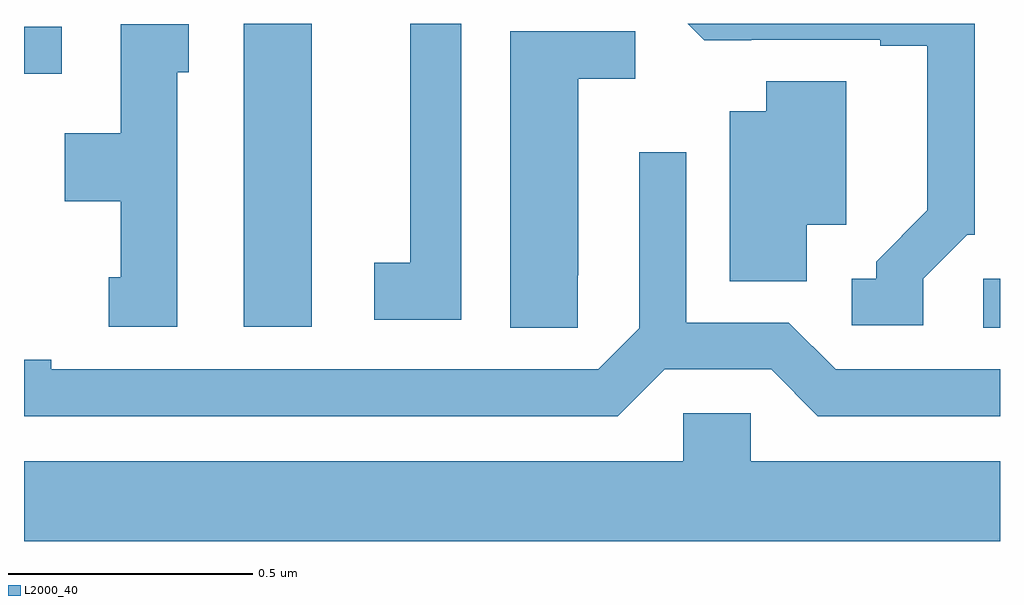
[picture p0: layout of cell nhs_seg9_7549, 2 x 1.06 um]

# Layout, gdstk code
import gdstk
lib = gdstk.Library(unit=1e-6, precision=1e-09)
def R(c, l, rs):  # rectangles x0, y0, x1, y1
    for r in rs: c.add(gdstk.rectangle(r[:2], r[2:], *l))
def P(c, l, *ps):  # polygons
    for p in ps: c.add(gdstk.Polygon(p, *l))
L2000_40 = (2000, 40)

nhs_seg9_7549 = lib.new_cell('nhs_seg9_7549')
R(nhs_seg9_7549, L2000_40, [(207.966,1176.877,208,1176.978), (206.45,1176.879,206.59,1177.5), (206,1177.398,206.077,1177.494)])
P(nhs_seg9_7549, L2000_40, [(206.896,1177.5),(206.792,1177.5),(206.792,1177.01),(206.718,1177.01),(206.718,1176.894),(206.896,1176.894)],
  [(207.843,1176.978),(207.933,1177.068),(207.948,1177.068),(207.948,1177.5),(207.36,1177.5),(207.394,1177.466),(207.49,1177.466),(207.49,1177.467),(207.755,1177.467),(207.755,1177.455),(207.851,1177.455),(207.851,1177.118),(207.746,1177.013),(207.746,1176.978),(207.696,1176.978),(207.696,1176.882),(207.843,1176.882)],
  [(206.314,1177.401),(206.338,1177.401),(206.338,1177.499),(206.198,1177.499),(206.198,1177.276),(206.084,1177.276),(206.084,1177.136),(206.198,1177.136),(206.198,1176.981),(206.174,1176.981),(206.174,1176.879),(206.314,1176.879)],
  [(207.135,1176.985),(207.136,1176.985),(207.136,1177.388),(207.253,1177.388),(207.253,1177.485),(206.996,1177.485),(206.996,1176.877),(207.135,1176.877)],
  [(207.604,1177.088),(207.685,1177.088),(207.685,1177.382),(207.521,1177.382),(207.521,1177.321),(207.446,1177.321),(207.446,1176.973),(207.604,1176.973)],
  [(207.313,1176.792),(207.531,1176.792),(207.627,1176.696),(208,1176.696),(208,1176.792),(207.663,1176.792),(207.567,1176.888),(207.357,1176.888),(207.357,1177.237),(207.261,1177.237),(207.261,1176.876),(207.177,1176.792),(206.056,1176.792),(206.056,1176.812),(206,1176.812),(206,1176.696),(207.217,1176.696)],
  [(208,1176.604),(207.489,1176.604),(207.489,1176.702),(207.351,1176.702),(207.351,1176.604),(206,1176.604),(206,1176.44),(208,1176.44)])

lib.write_gds('nhs_seg9_7549.gds')
